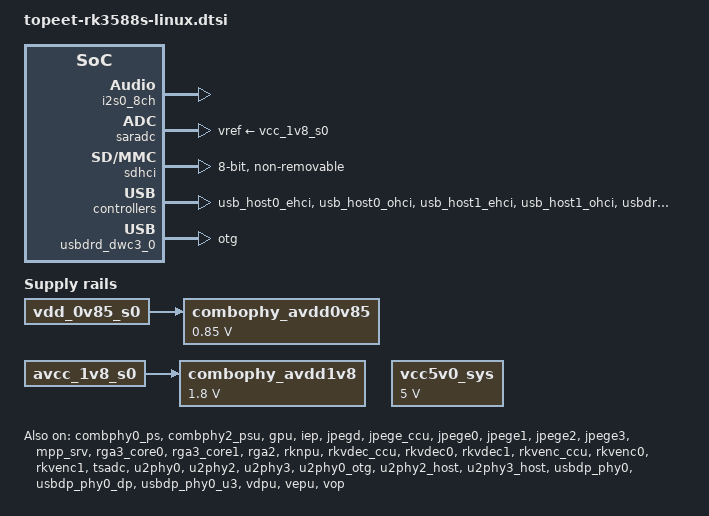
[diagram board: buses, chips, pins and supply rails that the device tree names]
// SPDX-License-Identifier: (GPL-2.0+ OR MIT)
/*
 * Copyright (c) 2021 Rockchip Electronics Co., Ltd.
 *
 */

#include <dt-bindings/gpio/gpio.h>
#include <dt-bindings/pwm/pwm.h>
#include <dt-bindings/pinctrl/rockchip.h>
#include <dt-bindings/input/rk-input.h>
#include <dt-bindings/display/drm_mipi_dsi.h>
#include <dt-bindings/display/rockchip_vop.h>
#include <dt-bindings/sensor-dev.h>

/ {
        vcc5v0_sys: vcc5v0-sys {
                compatible = "regulator-fixed";
                regulator-name = "vcc5v0_sys";
                regulator-always-on;
                regulator-boot-on;
                regulator-min-microvolt = <5000000>;
                regulator-max-microvolt = <5000000>;
        };

        combophy_avdd0v85: combophy-avdd0v85 {
                compatible = "regulator-fixed";
                regulator-name = "combophy_avdd0v85";
                regulator-boot-on;
                regulator-always-on;
                regulator-min-microvolt = <850000>;
                regulator-max-microvolt = <850000>;
                vin-supply = <&vdd_0v85_s0>;
        };      

        combophy_avdd1v8: combophy-avdd1v8 {
                compatible = "regulator-fixed";
                regulator-name = "combophy_avdd1v8";
                regulator-boot-on;
                regulator-always-on;
                regulator-min-microvolt = <1800000>;
                regulator-max-microvolt = <1800000>;
                vin-supply = <&avcc_1v8_s0>;
        };

	hdmi0_sound: hdmi0-sound {
		status = "disabled";
		compatible = "simple-audio-card";
		simple-audio-card,format = "i2s";
		simple-audio-card,mclk-fs = <128>;
		simple-audio-card,name = "rockchip,hdmi0";

		simple-audio-card,cpu {
			sound-dai = <&i2s5_8ch>;
		};
		simple-audio-card,codec {
			sound-dai = <&hdmi0>;
		};
	};

	spdif_tx1_dc: spdif-tx1-dc {
		status = "disabled";
		compatible = "linux,spdif-dit";
		#sound-dai-cells = <0>;
	};

	spdif_tx1_sound: spdif-tx1-sound {
		status = "disabled";
		compatible = "simple-audio-card";
		simple-audio-card,name = "rockchip,spdif-tx1";
		simple-audio-card,cpu {
			sound-dai = <&spdif_tx1>;
		};
		simple-audio-card,codec {
			sound-dai = <&spdif_tx1_dc>;
		};
	};
};

&av1d_mmu {
	status = "okay";
};

&combphy0_ps {
	status = "okay";
};

&combphy2_psu {
	status = "okay";
};

&cpu_l0 {
	cpu-supply = <&vdd_cpu_lit_s0>;
	mem-supply = <&vdd_cpu_lit_mem_s0>;
};

&cpu_b0 {
	cpu-supply = <&vdd_cpu_big0_s0>;
	mem-supply = <&vdd_cpu_big0_mem_s0>;
};

&cpu_b2 {
	cpu-supply = <&vdd_cpu_big1_s0>;
	mem-supply = <&vdd_cpu_big1_mem_s0>;
};

&gpu {
	mali-supply = <&vdd_gpu_s0>;
	mem-supply = <&vdd_gpu_mem_s0>;
	status = "okay";
};

&i2s0_8ch {
	status = "okay";
	pinctrl-0 = <&i2s0_lrck
		     &i2s0_sclk
		     &i2s0_sdi0
		     &i2s0_sdo0>;
};

&iep {
	status = "okay";
};

&iep_mmu {
	status = "okay";
};

&jpegd {
	status = "okay";
};

&jpegd_mmu {
	status = "okay";
};

&jpege_ccu {
	status = "okay";
};

&jpege0 {
	status = "okay";
};

&jpege0_mmu {
	status = "okay";
};

&jpege1 {
	status = "okay";
};

&jpege1_mmu {
	status = "okay";
};

&jpege2 {
	status = "okay";
};

&jpege2_mmu {
	status = "okay";
};

&jpege3 {
	status = "okay";
};

&jpege3_mmu {
	status = "okay";
};

&mpp_srv {
	status = "okay";
};

&rga3_core0 {
	status = "okay";
};

&rga3_0_mmu {
	status = "okay";
};

&rga3_core1 {
	status = "okay";
};

&rga3_1_mmu {
	status = "okay";
};

&rga2 {
	status = "okay";
};

&rknpu {
	rknpu-supply = <&vdd_npu_s0>;
	mem-supply = <&vdd_npu_mem_s0>;
	status = "okay";
};

&rknpu_mmu {
	status = "okay";
};

&rkvdec_ccu {
	status = "okay";
};

&rkvdec0 {
	status = "okay";
};

&rkvdec0_mmu {
	status = "okay";
};

&rkvdec1 {
	status = "okay";
};

&rkvdec1_mmu {
	status = "okay";
};

&rkvenc_ccu {
	status = "okay";
};

&rkvenc0 {
	status = "okay";
};

&rkvenc0_mmu {
	status = "okay";
};

&rkvenc1 {
	status = "okay";
};

&rkvenc1_mmu {
	status = "okay";
};

&rockchip_suspend {
	status = "okay";
	rockchip,sleep-debug-en = <1>;
};

&saradc {
	status = "okay";
	vref-supply = <&vcc_1v8_s0>;
};

&sdhci {
	bus-width = <8>;
	no-sdio;
	no-sd;
	non-removable;
	max-frequency = <200000000>;
	mmc-hs400-1_8v;
	mmc-hs400-enhanced-strobe;
	status = "okay";
};

&sdmmc {
	max-frequency = <150000000>;
	no-sdio;
	no-mmc;
	bus-width = <4>;
	cap-mmc-highspeed;
	cap-sd-highspeed;
	disable-wp;
	sd-uhs-sdr104;
	vmmc-supply = <&vcc_3v3_sd_s0>;
	vqmmc-supply = <&vccio_sd_s0>;
	status = "disabled";
};

&tsadc {
	status = "okay";
};

&u2phy0 {
	status = "okay";
};

&u2phy2 {
	status = "okay";
};

&u2phy3 {
	status = "okay";
};

&u2phy0_otg {
	status = "okay";
};

&u2phy2_host {
	status = "okay";
};

&u2phy3_host {
	status = "okay";
};

&usb_host0_ehci {
	status = "okay";
};

&usb_host0_ohci {
	status = "okay";
};

&usb_host1_ehci {
	status = "okay";
};

&usb_host1_ohci {
	status = "okay";
};

&usbdp_phy0 {
	status = "okay";
};

&usbdp_phy0_dp {
	status = "okay";
};

&usbdp_phy0_u3 {
	status = "okay";
};

&usbdrd3_0 {
	status = "okay";
};

&usbdrd_dwc3_0 {
	dr_mode = "otg";
	status = "okay";
};

&usbhost3_0 {
	status = "okay";
};

&usbhost_dwc3_0 {
	status = "okay";
};

&vdpu {
	status = "okay";
};

&vdpu_mmu {
	status = "okay";
};

&vepu {
	status = "okay";
};

&vop {
	status = "okay";
};

&vop_mmu {
	status = "okay";
};

/* vp0 & vp1 splice for 8K output */
&vp0 {
	rockchip,plane-mask = <(1 << ROCKCHIP_VOP2_CLUSTER0 | 1 << ROCKCHIP_VOP2_ESMART0)>;
	rockchip,primary-plane = <ROCKCHIP_VOP2_ESMART0>;
};

&vp1 {
	rockchip,plane-mask = <(1 << ROCKCHIP_VOP2_CLUSTER1 | 1 << ROCKCHIP_VOP2_ESMART1)>;
	rockchip,primary-plane = <ROCKCHIP_VOP2_ESMART1>;
};

&vp2 {
	rockchip,plane-mask = <(1 << ROCKCHIP_VOP2_CLUSTER2 | 1 << ROCKCHIP_VOP2_ESMART2)>;
	rockchip,primary-plane = <ROCKCHIP_VOP2_ESMART2>;
};

&vp3 {
	rockchip,plane-mask = <(1 << ROCKCHIP_VOP2_CLUSTER3 | 1 << ROCKCHIP_VOP2_ESMART3)>;
	rockchip,primary-plane = <ROCKCHIP_VOP2_ESMART3>;
};
